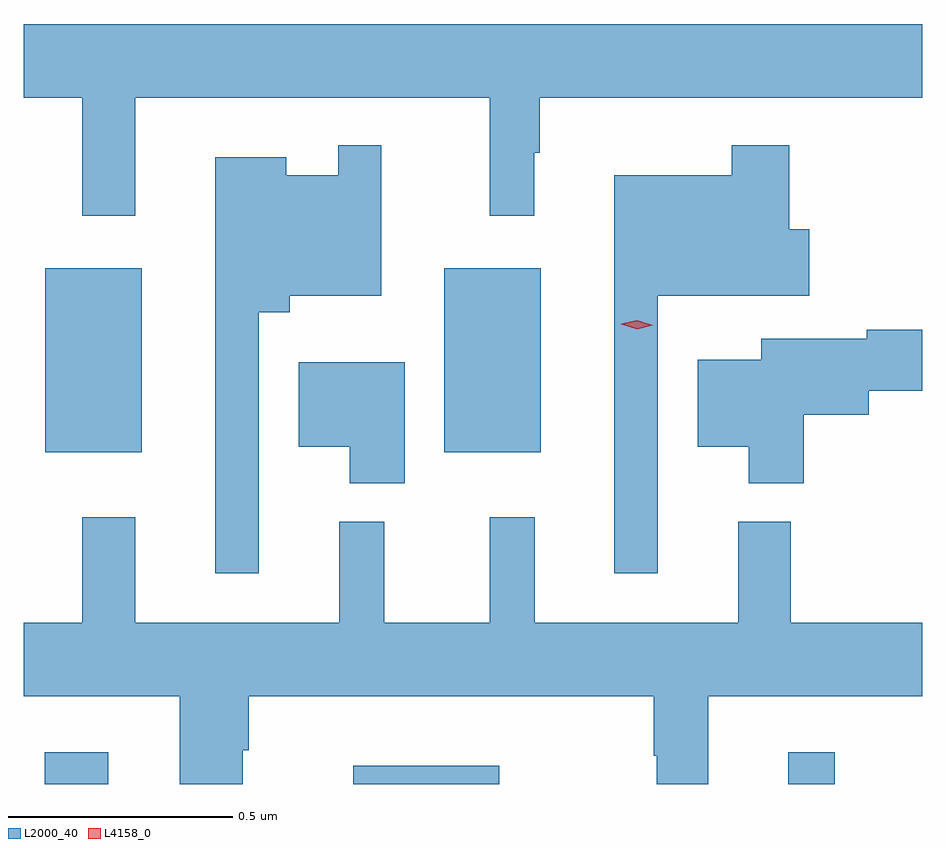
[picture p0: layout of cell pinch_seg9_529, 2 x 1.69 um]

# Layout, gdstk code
import gdstk
lib = gdstk.Library(unit=1e-6, precision=1e-09)
def R(c, l, rs):  # rectangles x0, y0, x1, y1
    for r in rs: c.add(gdstk.rectangle(r[:2], r[2:], *l))
def P(c, l, *ps):  # polygons
    for p in ps: c.add(gdstk.Polygon(p, *l))
L2000_40 = (2000, 40)
L4158_0 = (4158, 0)

pinch_seg9_529 = lib.new_cell('pinch_seg9_529')
R(pinch_seg9_529, L2000_40, [(334.075,1194.893,334.216,1194.964), (334.761,1194.893,335.086,1194.934), (335.729,1194.893,335.833,1194.964), (334.076,1195.631,334.291,1196.041), (334.964,1195.631,335.179,1196.041)])
P(pinch_seg9_529, L2000_40, [(334.276,1196.42),(335.065,1196.42),(335.065,1196.157),(335.164,1196.157),(335.164,1196.297),(335.176,1196.297),(335.176,1196.42),(336.028,1196.42),(336.028,1196.584),(334.028,1196.584),(334.028,1196.42),(334.159,1196.42),(334.159,1196.157),(334.276,1196.157)],
  [(335.439,1195.979),(335.776,1195.979),(335.776,1196.127),(335.732,1196.127),(335.732,1196.314),(335.604,1196.314),(335.604,1196.248),(335.342,1196.248),(335.342,1195.362),(335.439,1195.362)],
  [(334.551,1195.943),(334.62,1195.943),(334.62,1195.979),(334.824,1195.979),(334.824,1196.314),(334.728,1196.314),(334.728,1196.248),(334.612,1196.248),(334.612,1196.287),(334.454,1196.287),(334.454,1195.362),(334.551,1195.362)],
  [(335.764,1195.715),(335.908,1195.715),(335.908,1195.768),(336.028,1195.768),(336.028,1195.904),(335.904,1195.904),(335.904,1195.884),(335.669,1195.884),(335.669,1195.837),(335.528,1195.837),(335.528,1195.643),(335.642,1195.643),(335.642,1195.562),(335.764,1195.562)],
  [(334.876,1195.831),(334.64,1195.831),(334.64,1195.643),(334.754,1195.643),(334.754,1195.562),(334.876,1195.562)],
  [(334.516,1194.968),(334.529,1194.968),(334.529,1195.088),(335.43,1195.088),(335.43,1194.956),(335.437,1194.956),(335.437,1194.893),(335.551,1194.893),(335.551,1195.088),(336.028,1195.088),(336.028,1195.252),(335.735,1195.252),(335.735,1195.477),(335.618,1195.477),(335.618,1195.252),(335.165,1195.252),(335.165,1195.486),(335.065,1195.486),(335.065,1195.252),(334.83,1195.252),(334.83,1195.477),(334.73,1195.477),(334.73,1195.252),(334.277,1195.252),(334.277,1195.486),(334.159,1195.486),(334.159,1195.252),(334.028,1195.252),(334.028,1195.088),(334.376,1195.088),(334.376,1194.893),(334.516,1194.893)])
P(pinch_seg9_529, L4158_0, [(335.393,1195.905),(335.358,1195.916),(335.358,1195.916),(335.358,1195.917),(335.394,1195.925),(335.428,1195.914),(335.429,1195.914),(335.428,1195.914)])

lib.write_gds('pinch_seg9_529.gds')
